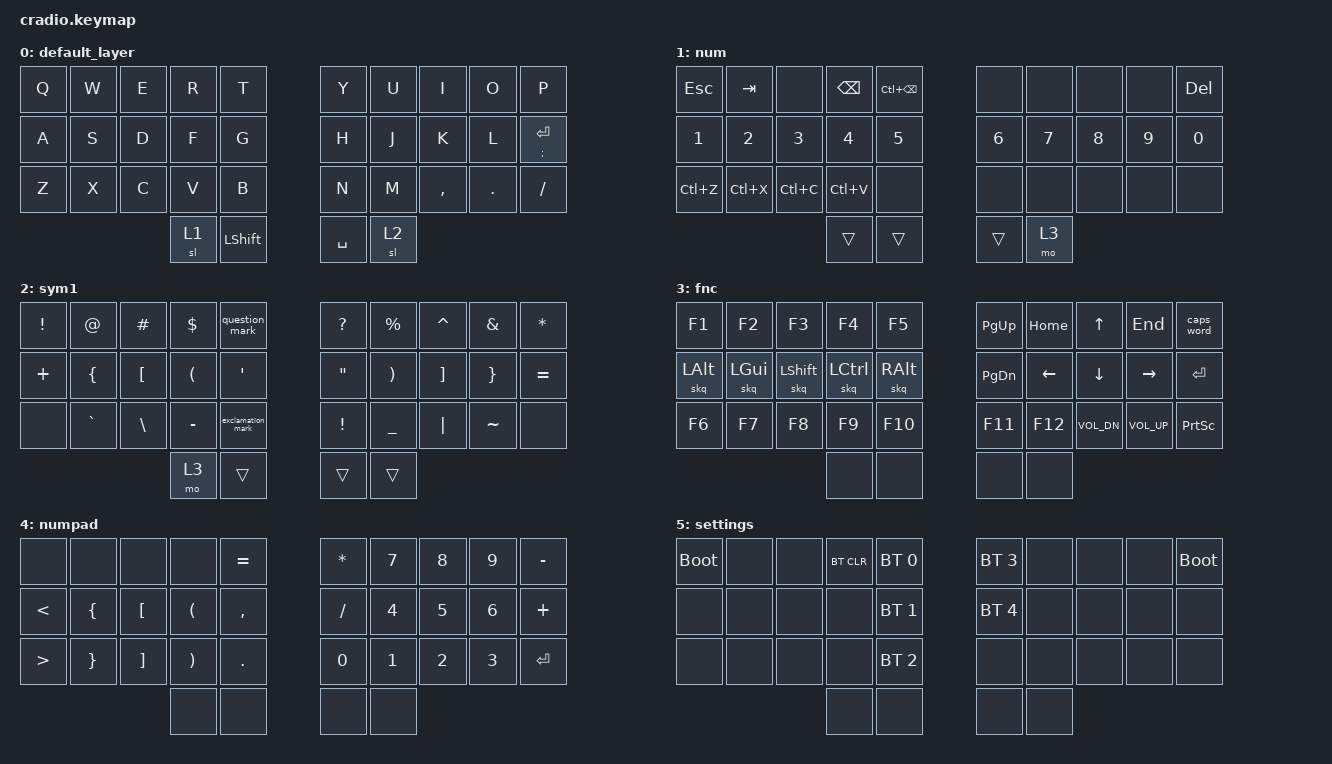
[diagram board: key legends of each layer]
// Copyright (c) 2022 The ZMK Contributors
// SPDX-License-Identifier: MIT

#include <behaviors.dtsi>
#include <dt-bindings/zmk/bt.h>
#include <dt-bindings/zmk/keys.h>

// Home row mods macro
// #define HRML(k1,k2,k3,k4) &ht LSHFT k1  &ht LALT k2  &ht LCTRL k3  &ht LGUI k4
// #define HRMR(k1,k2,k3,k4) &ht RGUI k1  &ht RCTRL k2  &ht RALT k3  &ht RSHFT k4

/ {
    behaviors {
        ht: hold_tap {
            compatible = "zmk,behavior-hold-tap";
            #binding-cells = <2>;
            flavor = "tap-preferred";
            tapping-term-ms = <150>;
            quick-tap-ms = <150>;
            require-prior-idle-ms = <100>;
            bindings = <&kp>, <&kp>;
        };

        sht: special_hold_tap {
            compatible = "zmk,behavior-hold-tap";
            #binding-cells = <2>;
            flavor = "tap-preferred";
            tapping-term-ms = <250>;
            quick-tap-ms = <150>;
            require-prior-idle-ms = <100>;
            bindings = <&kp>, <&kp>;
        };

        skq: sticky_key_quick_release {
            compatible = "zmk,behavior-sticky-key";
            #binding-cells = <1>;
            bindings = <&kp>;
            release-after-ms = <2000>;
            quick-release;
            lazy;
            ignore-modifiers;
        };
    };

    conditional_layers { compatible = "zmk,conditional-layers"; };

    combos {
        compatible = "zmk,combos";

        numpad {
            bindings = <&tog 4>;
            key-positions = <33 32>;
        };

        settings {
            bindings = <&mo 5>;
            key-positions = <30 31>;
        };
    };

    macros {
        question_mark: question_mark {
            compatible = "zmk,behavior-macro";
            #binding-cells = <0>;
            bindings =
                <&macro_press &kp LEFT_ALT>,
                <&macro_tap &kp KP_NUMBER_0 &kp KP_NUMBER_1 &kp KP_NUMBER_9 &kp KP_NUMBER_1>,
                <&macro_release &kp LEFT_ALT>;
            label = "QUESTION_MARK";
        };

        exclamation_mark: exclamation_mark {
            compatible = "zmk,behavior-macro";
            #binding-cells = <0>;
            bindings =
                <&macro_press &kp LEFT_ALT>,
                <&macro_tap &kp KP_NUMBER_1 &kp KP_NUMBER_7 &kp KP_NUMBER_3>,
                <&macro_release &kp LEFT_ALT>;

            label = "EXCLAMATION_MARK";
        };
    };

    keymap {
        compatible = "zmk,keymap";

        default_layer {
            bindings = <
&kp Q  &kp W  &kp E  &kp R  &kp T             &kp Y      &kp U  &kp I      &kp O    &kp P
&kp A  &kp S  &kp D  &kp F  &kp G             &kp H      &kp J  &kp K      &kp L    &ht SEMI RETURN
&kp Z  &kp X  &kp C  &kp V  &kp B             &kp N      &kp M  &kp COMMA  &kp DOT  &kp SLASH
                     &sl 1  &kp LEFT_SHIFT    &kp SPACE  &sl 2
            >;
        };

        num {
            bindings = <
&kp ESCAPE  &kp TAB    &none      &kp BACKSPACE  &kp LC(BACKSPACE)    &none   &none   &none   &none   &kp DELETE
&kp N1      &kp N2     &kp N3     &kp N4         &kp N5               &kp N6  &kp N7  &kp N8  &kp N9  &kp N0
&kp LC(Z)   &kp LC(X)  &kp LC(C)  &kp LC(V)      &none                &none   &none   &none   &none   &none
                                  &trans         &trans               &trans  &mo 3
            >;
        };

        sym1 {
            bindings = <
&kp EXCL  &kp AT     &kp HASH  &kp DOLLAR  &question_mark       &kp QUESTION     &kp PERCENT  &kp CARET  &kp AMPS   &kp ASTRK
&kp PLUS  &kp LBRC   &kp LBKT  &kp LPAR    &kp SQT              &kp DQT          &kp RPAR     &kp RBKT   &kp RBRC   &kp EQUAL
&none     &kp GRAVE  &kp BSLH  &kp MINUS   &exclamation_mark    &kp EXCLAMATION  &kp UNDER    &kp PIPE   &kp TILDE  &none
                               &mo 3       &trans               &trans           &trans
            >;
        };

        fnc {
            bindings = <
&kp F1         &kp F2         &kp F3           &kp F4             &kp F5            &kp PAGE_UP    &kp HOME        &kp UP_ARROW  &kp END       &caps_word
&skq LEFT_ALT  &skq LEFT_GUI  &skq LEFT_SHIFT  &skq LEFT_CONTROL  &skq RIGHT_ALT    &kp PAGE_DOWN  &kp LEFT_ARROW  &kp DOWN      &kp RIGHT     &kp ENTER
&kp F6         &kp F7         &kp F8           &kp F9             &kp F10           &kp F11        &kp F12         &kp C_VOL_DN  &kp C_VOL_UP  &kp PSCRN
                                               &none              &none             &none          &none
            >;
        };

        numpad {
            bindings = <
&none             &none            &none              &none                  &kp EQUAL     &kp ASTERISK  &kp NUMBER_7  &kp NUMBER_8  &kp NUMBER_9  &kp MINUS
&kp LESS_THAN     &kp LEFT_BRACE   &kp LEFT_BRACKET   &kp LEFT_PARENTHESIS   &kp COMMA     &kp SLASH     &kp NUMBER_4  &kp NUMBER_5  &kp NUMBER_6  &kp PLUS
&kp GREATER_THAN  &kp RIGHT_BRACE  &kp RIGHT_BRACKET  &kp RIGHT_PARENTHESIS  &kp PERIOD    &kp NUMBER_0  &kp NUMBER_1  &kp NUMBER_2  &kp NUMBER_3  &kp RET
                                                      &none                  &none         &none         &none
            >;
        };

        settings {
            bindings = <
&bootloader  &none  &none  &bt BT_CLR  &bt BT_SEL 0    &bt BT_SEL 3  &none  &none  &none  &bootloader
&none        &none  &none  &none       &bt BT_SEL 1    &bt BT_SEL 4  &none  &none  &none  &none
&none        &none  &none  &none       &bt BT_SEL 2    &none         &none  &none  &none  &none
                           &none       &none           &none         &none
            >;
        };
    };
};
